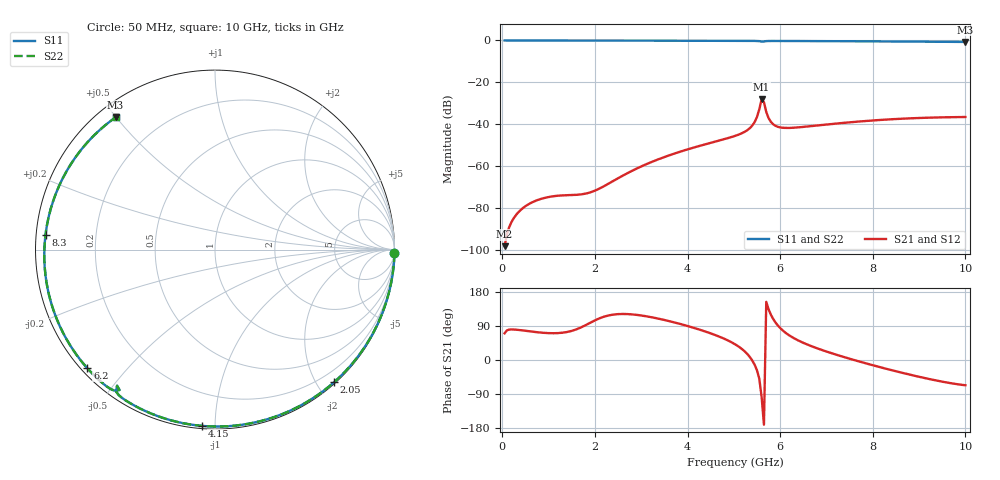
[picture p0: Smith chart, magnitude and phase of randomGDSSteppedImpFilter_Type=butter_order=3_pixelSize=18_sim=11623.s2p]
! freq	dB(S11)	phase(S11)	dB(S12)	phase(S12)
!  dB(S21)	phase(S21)	dB(S22)	phase(S22)
!S-par simulation data
#  GHz  S  DB  R 50
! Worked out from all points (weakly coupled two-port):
!   200 points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, 50 MHz to 10 GHz, reference 50 ohm
!   highest |S21| = -27.93 dB at 5.6 GHz (marker M1); lowest = -98.0 dB at 50 MHz (marker M2)
!   lowest |S11| = -0.7 dB at 10 GHz (marker M3), VSWR 24.53, Z = 2.54 + j24.9 ohm
!   |S11| at or under -10 dB: nowhere
!   |S22| runs from -0.7 to 0.0 dB; largest |S21 - S12| = 0
!   S11 on the Smith chart (normalised r, x): 50 MHz: 0, -95; 2.05 GHz: 0.02, -2.25; 4.15 GHz: 0.01, -0.93; 6.2 GHz: 0.02, -0.39; 8.3 GHz: 0.03, +0.04; 10 GHz: 0.05, +0.50
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0.05  -0.00 -1.2  -98.05 70.5  -98.05 70.5  -0.00 -1.2
0.45  -0.01 -10.8  -79.81 77.9  -79.81 77.9  -0.01 -10.8
1  -0.03 -23.7  -74.62 70.9  -74.62 70.9  -0.03 -23.7
1.75  -0.05 -41.2  -73.21 88.9  -73.21 88.9  -0.05 -41.2
2.05  -0.06 -48.0  -71.10 107.4  -71.10 107.4  -0.06 -48.0
3.4  -0.10 -78.0  -56.39 108.4  -56.39 108.4  -0.10 -78.0
4.15  -0.13 -94.1  -50.94 84.3  -50.94 84.3  -0.13 -94.1
5.05  -0.18 -113.2  -45.31 39.7  -45.31 39.7  -0.18 -113.2
5.4  -0.21 -120.9  -40.50 -1.7  -40.50 -1.7  -0.21 -120.9
5.5  -0.24 -123.4  -36.46 -27.3  -36.46 -27.3  -0.24 -123.4
5.6  -0.59 -125.7  -27.93 -97.6  -27.93 -97.6  -0.59 -125.7
5.65  -0.48 -124.2  -29.49 -170.8  -29.49 -170.8  -0.48 -124.2
5.7  -0.31 -125.5  -34.06 153.4  -34.06 153.4  -0.31 -125.6
5.8  -0.25 -128.2  -38.83 119.5  -38.83 119.5  -0.25 -128.2
5.95  -0.24 -131.6  -41.15 91.1  -41.15 91.1  -0.24 -131.6
6.2  -0.26 -137.1  -41.68 64.7  -41.68 64.7  -0.26 -137.1
6.7  -0.29 -147.9  -40.76 35.3  -40.76 35.3  -0.29 -147.9
7.55  -0.38 -167.0  -38.92 1.6  -38.92 1.6  -0.38 -167.0
8.3  -0.46 175.0  -37.70 -23.5  -37.70 -23.5  -0.46 175.0
8.35  -0.47 173.7  -37.63 -25.1  -37.63 -25.1  -0.47 173.7
9.2  -0.59 151.1  -36.80 -49.7  -36.80 -49.7  -0.59 151.0
10  -0.71 127.0  -36.48 -66.7  -36.48 -66.7  -0.71 126.9
